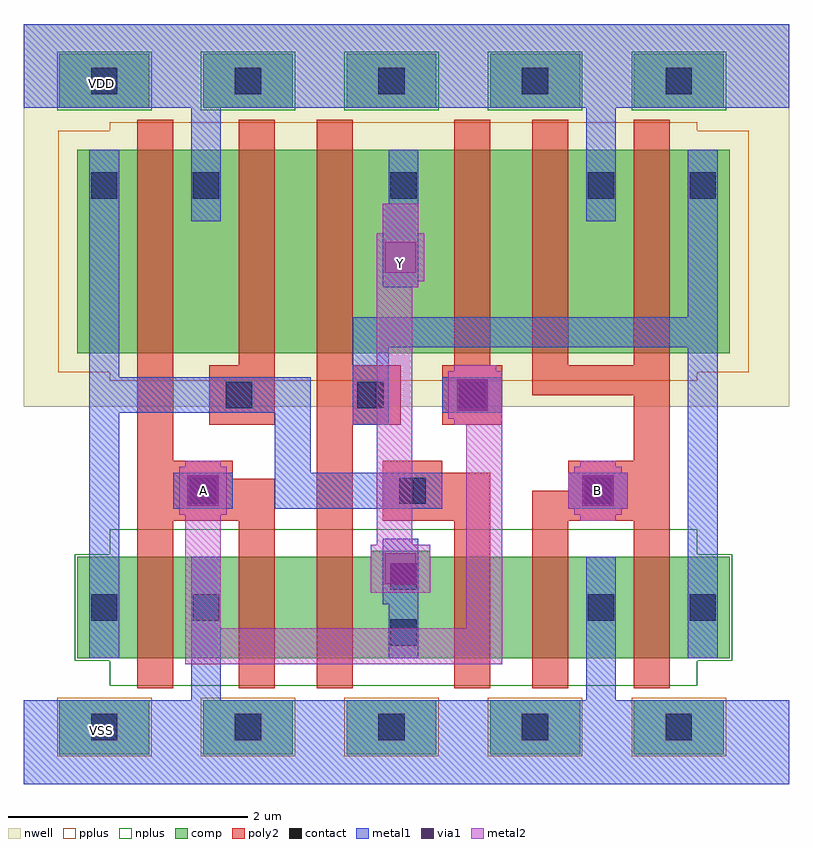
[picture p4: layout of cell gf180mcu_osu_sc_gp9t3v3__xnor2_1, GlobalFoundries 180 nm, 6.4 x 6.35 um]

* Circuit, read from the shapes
.subckt gf180mcu_osu_sc_gp9t3v3__xnor2_1 A B VDD VSS Y
XM1 VSS A n1 VSS nfet_03v3 w=0.85u l=0.3u
XM2 n2 A VSS VSS nfet_03v3 w=0.85u l=0.3u
XM3 Y n3 n2 VSS nfet_03v3 w=0.85u l=0.3u
XM4 n4 n1 Y VSS nfet_03v3 w=0.85u l=0.3u
XM5 VSS B n4 VSS nfet_03v3 w=0.85u l=0.3u
XM6 n3 B VSS VSS nfet_03v3 w=0.85u l=0.3u
XM7 VDD A n1 VDD pfet_03v3 w=1.7u l=0.3u
XM8 n5 n1 VDD VDD pfet_03v3 w=1.7u l=0.3u
XM9 Y n3 n5 VDD pfet_03v3 w=1.7u l=0.3u
XM10 n6 A Y VDD pfet_03v3 w=1.7u l=0.3u
XM11 VDD B n6 VDD pfet_03v3 w=1.7u l=0.3u
XM12 n3 B VDD VDD pfet_03v3 w=1.7u l=0.3u
.ends

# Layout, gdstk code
import gdstk
lib = gdstk.Library(unit=1e-6, precision=1e-09)
def R(c, l, rs):  # rectangles x0, y0, x1, y1
    for r in rs: c.add(gdstk.rectangle(r[:2], r[2:], *l))
def A(c, l, x, y, w, h, nx, ny, dx, dy):  # array of equal rectangles
    R(c, l, [(x+i*dx, y+j*dy, x+i*dx+w, y+j*dy+h) for i in range(nx) for j in range(ny)])
nwell = (21, 0)
comp = (22, 0)
poly2 = (30, 0)
pplus = (31, 0)
nplus = (32, 0)
contact = (33, 0)
metal1 = (34, 0)
via1 = (35, 0)
metal2 = (36, 0)

gf180mcu_osu_sc_gp9t3v3_ = lib.new_cell('gf180mcu_osu_sc_gp9t3v3__xnor2_1')
R(gf180mcu_osu_sc_gp9t3v3_, nwell, [(0,3.15,6.4,6.35)])
A(gf180mcu_osu_sc_gp9t3v3_, comp, 0.3, 0.25, 0.75, 0.45, 5, 2, 1.2, 5.4)
R(gf180mcu_osu_sc_gp9t3v3_, comp, [(0.45,1.05,5.9,1.9), (2.9,1.9,3.4,1.95), (0.45,3.6,5.9,5.3)])
R(gf180mcu_osu_sc_gp9t3v3_, poly2, [(0.95,0.8,1.25,2.2), (1.8,0.8,2.1,2.2), (2.45,0.8,2.75,3), (3.6,0.8,3.9,2.2), (4.25,0.8,4.55,2.2), (5.1,0.8,5.4,2.2), (0.95,2.2,2.1,2.55), (3,2.2,3.9,2.6), (4.25,2.2,5.4,2.45), (4.55,2.45,5.4,2.7), (0.95,2.55,1.75,2.7), (3,2.6,3.5,2.7), (0.95,2.7,1.25,5.55), (5.1,2.7,5.4,3.25), (1.55,3,2.1,3.5), (2.45,3,3.15,3.5), (3.5,3,4,3.5), (4.25,3.25,5.4,3.5), (1.8,3.5,2.1,5.55), (2.45,3.5,2.75,5.55), (3.6,3.5,3.9,5.55), (4.25,3.5,4.55,5.55), (5.1,3.5,5.4,5.55)])
A(gf180mcu_osu_sc_gp9t3v3_, pplus, 0.28, 0.23, 0.79, 0.49, 5, 1, 1.2, 0)
R(gf180mcu_osu_sc_gp9t3v3_, pplus, [(0.72,3.37,5.63,3.44), (0.29,3.44,6.06,5.46), (0.72,5.46,5.63,5.53)])
A(gf180mcu_osu_sc_gp9t3v3_, nplus, 0.28, 5.63, 0.79, 0.49, 5, 1, 1.2, 0)
R(gf180mcu_osu_sc_gp9t3v3_, nplus, [(0.72,0.82,5.63,1.03), (0.43,1.03,5.92,1.92), (0.72,1.92,5.63,2.13)])
A(gf180mcu_osu_sc_gp9t3v3_, contact, 0.565, 0.365, 0.22, 0.22, 5, 2, 1.2, 5.4)
A(gf180mcu_osu_sc_gp9t3v3_, contact, 1.415, 4.89, 0.22, 0.22, 3, 1, 1.65, 0)
R(gf180mcu_osu_sc_gp9t3v3_, contact, [(3.065,1.155,3.285,1.375), (0.565,1.365,0.785,1.585), (1.415,1.365,1.635,1.585), (4.715,1.365,4.935,1.585), (5.565,1.365,5.785,1.585), (3.065,1.625,3.285,1.845), (1.39,2.34,1.61,2.56), (3.14,2.34,3.36,2.56), (4.69,2.34,4.91,2.56), (1.69,3.14,1.91,3.36), (2.79,3.14,3.01,3.36), (3.64,3.14,3.86,3.36), (0.565,4.89,0.785,5.11), (5.565,4.89,5.785,5.11)])
R(gf180mcu_osu_sc_gp9t3v3_, metal1, [(0,0,6.4,0.7), (1.4,0.7,1.65,1.9), (4.7,0.7,4.95,1.9), (0.55,1.05,0.8,3.1), (3.05,1.05,3.3,1.5), (5.55,1.05,5.8,3.65), (3,1.5,3.3,2.05), (1.25,2.3,1.75,2.6), (2.1,2.3,3.5,2.6), (4.55,2.3,5.05,2.6), (2.1,2.6,2.4,3.1), (2.75,3,3.05,3.65), (0.55,3.1,2.4,3.4), (3.5,3.1,4,3.4), (0.55,3.4,0.8,5.3), (2.75,3.65,5.8,3.9), (5.55,3.9,5.8,5.3), (3,4.15,3.3,4.85), (1.4,4.7,1.65,5.65), (4.7,4.7,4.95,5.65), (3.05,4.85,3.3,5.3), (0,5.65,6.4,6.35)])
R(gf180mcu_osu_sc_gp9t3v3_, via1, [(3.02,1.67,3.28,1.93), (1.37,2.32,1.63,2.58), (4.67,2.32,4.93,2.58), (3.62,3.12,3.88,3.38), (3.02,4.27,3.28,4.53)])
R(gf180mcu_osu_sc_gp9t3v3_, metal2, [(1.35,1,4,1.3), (1.35,1.3,1.65,2.25), (3.7,1.3,4,3), (2.9,1.6,3.4,2), (2.95,2,3.25,4.15), (4.65,2.2,4.95,2.25), (1.3,2.25,1.7,2.65), (4.6,2.25,5,2.3), (4.55,2.3,5.05,2.6), (4.6,2.6,5,2.65), (1.35,2.65,1.65,2.7), (4.65,2.65,4.95,2.7), (3.6,3,4,3.05), (3.55,3.05,4,3.45), (3.6,3.45,3.95,3.5), (2.95,4.15,3.3,4.2), (2.95,4.2,3.35,4.6), (3,4.6,3.3,4.85)])
gf180mcu_osu_sc_gp9t3v3_.add(gdstk.Label('A', (1.5,2.45), layer=36, texttype=10))
gf180mcu_osu_sc_gp9t3v3_.add(gdstk.Label('B', (4.8,2.45), layer=36, texttype=10))
gf180mcu_osu_sc_gp9t3v3_.add(gdstk.Label('Y', (3.15,4.35), layer=36, texttype=10))
gf180mcu_osu_sc_gp9t3v3_.add(gdstk.Label('VDD', (0.65,5.85), layer=34, texttype=10))
gf180mcu_osu_sc_gp9t3v3_.add(gdstk.Label('VSS', (0.65,0.45), layer=34, texttype=10))

lib.write_gds('gf180mcu_osu_sc_gp9t3v3__xnor2_1.gds')
